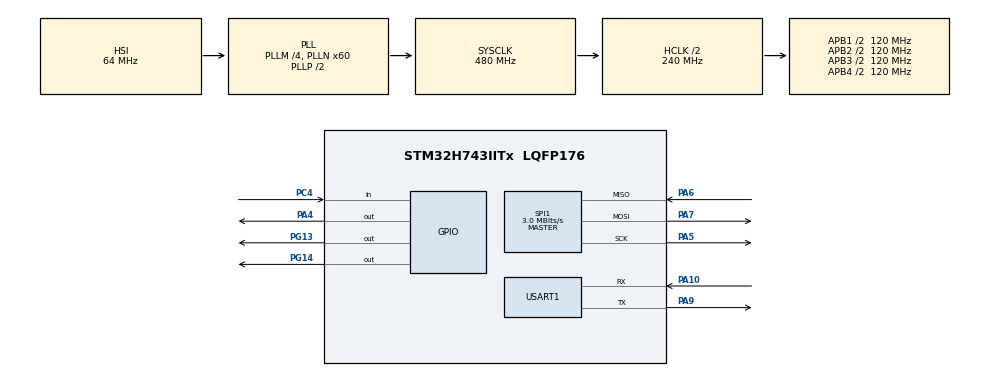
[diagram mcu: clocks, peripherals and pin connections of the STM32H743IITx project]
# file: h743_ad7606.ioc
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CORTEX_M7.default_mode_Activation=1
Mcu.Family=STM32H7
Mcu.Name=STM32H743IITx
Mcu.Package=LQFP176
NVIC.PriorityGroup=NVIC_PRIORITYGROUP_4
PA10.Mode=Asynchronous
PA10.Signal=USART1_RX
PA4.PinState=GPIO_PIN_SET
PA4.Signal=GPIO_Output
PA5.Mode=Full_Duplex_Master
PA5.Signal=SPI1_SCK
PA6.Mode=Full_Duplex_Master
PA6.Signal=SPI1_MISO
PA7.Mode=Full_Duplex_Master
PA7.Signal=SPI1_MOSI
PA9.Mode=Asynchronous
PA9.Signal=USART1_TX
PC14-OSC32_IN\ (OSC32_IN).Mode=LSE-External-Oscillator
PC14-OSC32_IN\ (OSC32_IN).Signal=RCC_OSC32_IN
PC15-OSC32_OUT\ (OSC32_OUT).Mode=LSE-External-Oscillator
PC15-OSC32_OUT\ (OSC32_OUT).Signal=RCC_OSC32_OUT
PC4.Signal=GPIO_Input
PG13.Signal=GPIO_Output
PG14.Signal=GPIO_Output
PH0-OSC_IN\ (PH0).Mode=HSE-External-Oscillator
PH0-OSC_IN\ (PH0).Signal=RCC_OSC_IN
PH1-OSC_OUT\ (PH1).Mode=HSE-External-Oscillator
PH1-OSC_OUT\ (PH1).Signal=RCC_OSC_OUT
ProjectManager.HeapSize=0x200
ProjectManager.StackSize=0x400
ProjectManager.TargetToolchain=CMake
RCC.ADCFreq_Value=129000000
RCC.APB1Freq_Value=120000000
RCC.APB2Freq_Value=120000000
RCC.APB3Freq_Value=120000000
RCC.APB4Freq_Value=120000000
RCC.CortexFreq_Value=480000000
RCC.D1PPRE=RCC_APB3_DIV2
RCC.D2PPRE1=RCC_APB1_DIV2
RCC.D2PPRE2=RCC_APB2_DIV2
RCC.D3PPRE=RCC_APB4_DIV2
RCC.DIVM1=4
RCC.DIVN1=60
RCC.DIVQ1=5
RCC.HCLKFreq_Value=240000000
RCC.HPRE=RCC_HCLK_DIV2
RCC.HSE_VALUE=25000000
RCC.PLL2FRACN=0
RCC.PLL3FRACN=0
RCC.PLLFRACN=0
RCC.SYSCLKFreq_VALUE=480000000
RCC.SYSCLKSource=RCC_SYSCLKSOURCE_PLLCLK
RCC.USBFreq_Value=192000000
SPI1.BaudRatePrescaler=SPI_BAUDRATEPRESCALER_64
SPI1.CLKPhase=SPI_PHASE_2EDGE
SPI1.CLKPolarity=SPI_POLARITY_HIGH
SPI1.CalculateBaudRate=3.0 MBits/s
SPI1.DataSize=SPI_DATASIZE_16BIT
SPI1.Direction=SPI_DIRECTION_2LINES
SPI1.Mode=SPI_MODE_MASTER
SPI1.VirtualType=VM_MASTER
USART1.VirtualMode-Asynchronous=VM_ASYNC
VP_MEMORYMAP_VS_MEMORYMAP.Mode=CurAppReg
board=custom

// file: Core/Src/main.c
/* USER CODE BEGIN Header */
/**
  ******************************************************************************
  * @file           : main.c
  * @brief          : Main program body
  ******************************************************************************
  * @attention
  *
  * Copyright (c) 2025 STMicroelectronics.
  * All rights reserved.
  *
  * This software is licensed under terms that can be found in the LICENSE file
  * in the root directory of this software component.
  * If no LICENSE file comes with this software, it is provided AS-IS.
  *
  ******************************************************************************
  */
/* USER CODE END Header */
#include "main.h"
#include "spi.h"
#include "usart.h"
#include "gpio.h"

/* USER CODE BEGIN Includes */
#include "bsp/bsp_ad7606.h"
#include "bsp/bsp_uart.h"
#include <string.h>  /* 用于strlen */
/* USER CODE END Includes */

/* USER CODE BEGIN PV */
/* AD7606采集数据缓冲区 */
static uint16_t ad7606_channels[AD7606_CH_NUM];
static uint32_t sample_count = 0;
static uint32_t last_print_time = 0;  /* 上次打印时间（毫秒） */
/* USER CODE END PV */

void SystemClock_Config(void);
static void MPU_Config(void);

int main(void)
{

  /* MPU Configuration--------------------------------------------------------*/
  MPU_Config();

  /* MCU Configuration--------------------------------------------------------*/

  /* Reset of all peripherals, Initializes the Flash interface and the Systick. */
  HAL_Init();

  /* Configure the system clock */
  SystemClock_Config();

  /* Initialize all configured peripherals */
  MX_GPIO_Init();
  MX_SPI1_Init();
  MX_USART1_UART_Init();
  /* USER CODE BEGIN 2 */

  /* 串口初始化后立即测试 - 使用HAL函数直接测试 */
  HAL_Delay(100);  /* 等待串口稳定 */

  /* 方法1：直接使用HAL函数测试 */
  const char *test_msg = "\r\n\r\n=== USART1 Test ===\r\n";
  HAL_UART_Transmit(&huart1, (uint8_t*)test_msg, strlen(test_msg), 1000);

  /* 方法2：使用BSP函数测试 */
  BSP_UART_SendString("串口初始化成功！\r\n");
  BSP_UART_SendString("========================================\r\n");
  BSP_UART_SendString("AD7606 ADC采集测试程序\r\n");
  BSP_UART_SendString("========================================\r\n");

  /* 初始化AD7606 */
  BSP_UART_SendString("正在初始化AD7606...\r\n");

  BSP_AD7606_Init();

  BSP_UART_SendString("AD7606初始化完成！\r\n");
  BSP_UART_SendString("配置：±5V量程，无过采样\r\n");
  BSP_UART_SendString("开始采集V1通道（1kHz, 1V正弦波）...\r\n\r\n");

  /* 等待AD7606稳定 */
  HAL_Delay(100);

  /* 启动第一次转换（填充流水线） */
  BSP_AD7606_StartConvst();
  HAL_Delay(1);  /* 等待第一次转换完成 */

  /* USER CODE END 2 */

  /* Infinite loop */
  while (1)
  {

    /* USER CODE BEGIN 3 */

    /* 启动AD转换 */
    BSP_AD7606_StartConvst();

    /* 等待转换完成（无过采样时约4μs，使用短延时即可） */
    /* 注意：HAL_Delay(1)会延时约1ms，这会严重限制采样率到约500 SPS */
    /* 对于高速采样，应该使用BUSY信号或更短的延时 */
    for (volatile int i = 0; i < 100; i++);  /* 约10μs延时（在480MHz下） */

    /* 读取8个通道的数据 */
    BSP_AD7606_ReadChannels(ad7606_channels);

    /* 增加采样计数 */
    sample_count++;

    /* 每1000个样本打印一次，并显示采样率统计 */
    if (sample_count % 1000 == 0) {
        uint32_t current_time = HAL_GetTick();
        uint32_t elapsed_time = current_time - last_print_time;
        uint32_t sample_rate = 0;

        if (elapsed_time > 0 && last_print_time > 0) {
            sample_rate = (1000 * 1000) / elapsed_time;  /* 计算采样率（SPS） */
        }
        last_print_time = current_time;

        /* 打印V1通道的数据（16位补码格式） */
        int16_t adc_value = (int16_t)ad7606_channels[0];
        BSP_UART_Printf("Sample #%lu: ", sample_count);
        BSP_UART_Printf("V1=%d (0x%04X)", adc_value, ad7606_channels[0]);

        /* 转换为电压值（±10V量程） */
        float voltage = (float)adc_value * 10.0f / 32768.0f;

        /* 使用整数方式显示电压 */
        int32_t voltage_mv = (int32_t)(voltage * 1000.0f);
        int32_t abs_mv = (voltage_mv < 0) ? -voltage_mv : voltage_mv;
        BSP_UART_Printf(" = %s%d.%03d V", (voltage_mv < 0) ? "-" : "", abs_mv / 1000, abs_mv % 1000);

        /* 显示采样率 */
        if (sample_rate > 0) {
            BSP_UART_Printf(" [Rate: %lu SPS]", sample_rate);
        }

        BSP_UART_SendString("\r\n");
    }

  }
  /* USER CODE END 3 */
}

void SystemClock_Config(void)
{
  RCC_OscInitTypeDef RCC_OscInitStruct = {0};
  RCC_ClkInitTypeDef RCC_ClkInitStruct = {0};

  /** Supply configuration update enable
  */
  HAL_PWREx_ConfigSupply(PWR_LDO_SUPPLY);

  /** Configure the main internal regulator output voltage
  */
  __HAL_PWR_VOLTAGESCALING_CONFIG(PWR_REGULATOR_VOLTAGE_SCALE0);

  while(!__HAL_PWR_GET_FLAG(PWR_FLAG_VOSRDY)) {}

  /** Initializes the RCC Oscillators according to the specified parameters
  * in the RCC_OscInitTypeDef structure.
  */
  RCC_OscInitStruct.OscillatorType = RCC_OSCILLATORTYPE_HSI;
  RCC_OscInitStruct.HSIState = RCC_HSI_DIV1;
  RCC_OscInitStruct.HSICalibrationValue = RCC_HSICALIBRATION_DEFAULT;
  RCC_OscInitStruct.PLL.PLLState = RCC_PLL_ON;
  RCC_OscInitStruct.PLL.PLLSource = RCC_PLLSOURCE_HSI;
  RCC_OscInitStruct.PLL.PLLM = 4;
  RCC_OscInitStruct.PLL.PLLN = 60;
  RCC_OscInitStruct.PLL.PLLP = 2;
  RCC_OscInitStruct.PLL.PLLQ = 5;
  RCC_OscInitStruct.PLL.PLLR = 2;
  RCC_OscInitStruct.PLL.PLLRGE = RCC_PLL1VCIRANGE_3;
  RCC_OscInitStruct.PLL.PLLVCOSEL = RCC_PLL1VCOWIDE;
  RCC_OscInitStruct.PLL.PLLFRACN = 0;
  if (HAL_RCC_OscConfig(&RCC_OscInitStruct) != HAL_OK)
  {
    Error_Handler();
  }

  /** Initializes the CPU, AHB and APB buses clocks
  */
  RCC_ClkInitStruct.ClockType = RCC_CLOCKTYPE_HCLK|RCC_CLOCKTYPE_SYSCLK
                              |RCC_CLOCKTYPE_PCLK1|RCC_CLOCKTYPE_PCLK2
                              |RCC_CLOCKTYPE_D3PCLK1|RCC_CLOCKTYPE_D1PCLK1;
  RCC_ClkInitStruct.SYSCLKSource = RCC_SYSCLKSOURCE_PLLCLK;
  RCC_ClkInitStruct.SYSCLKDivider = RCC_SYSCLK_DIV1;
  RCC_ClkInitStruct.AHBCLKDivider = RCC_HCLK_DIV2;
  RCC_ClkInitStruct.APB3CLKDivider = RCC_APB3_DIV2;
  RCC_ClkInitStruct.APB1CLKDivider = RCC_APB1_DIV2;
  RCC_ClkInitStruct.APB2CLKDivider = RCC_APB2_DIV2;
  RCC_ClkInitStruct.APB4CLKDivider = RCC_APB4_DIV2;

  if (HAL_RCC_ClockConfig(&RCC_ClkInitStruct, FLASH_LATENCY_4) != HAL_OK)
  {
    Error_Handler();
  }
}

 /* MPU Configuration */

void MPU_Config(void)
{
  MPU_Region_InitTypeDef MPU_InitStruct = {0};

  /* Disables the MPU */
  HAL_MPU_Disable();

  /** Initializes and configures the Region and the memory to be protected
  */
  MPU_InitStruct.Enable = MPU_REGION_ENABLE;
  MPU_InitStruct.Number = MPU_REGION_NUMBER0;
  MPU_InitStruct.BaseAddress = 0x0;
  MPU_InitStruct.Size = MPU_REGION_SIZE_4GB;
  MPU_InitStruct.SubRegionDisable = 0x87;
  MPU_InitStruct.TypeExtField = MPU_TEX_LEVEL0;
  MPU_InitStruct.AccessPermission = MPU_REGION_NO_ACCESS;
  MPU_InitStruct.DisableExec = MPU_INSTRUCTION_ACCESS_DISABLE;
  MPU_InitStruct.IsShareable = MPU_ACCESS_SHAREABLE;
  MPU_InitStruct.IsCacheable = MPU_ACCESS_NOT_CACHEABLE;
  MPU_InitStruct.IsBufferable = MPU_ACCESS_NOT_BUFFERABLE;

  HAL_MPU_ConfigRegion(&MPU_InitStruct);
  /* Enables the MPU */
  HAL_MPU_Enable(MPU_PRIVILEGED_DEFAULT);

}

void Error_Handler(void)
{
  __disable_irq();
  while (1)
  {
  }
}
